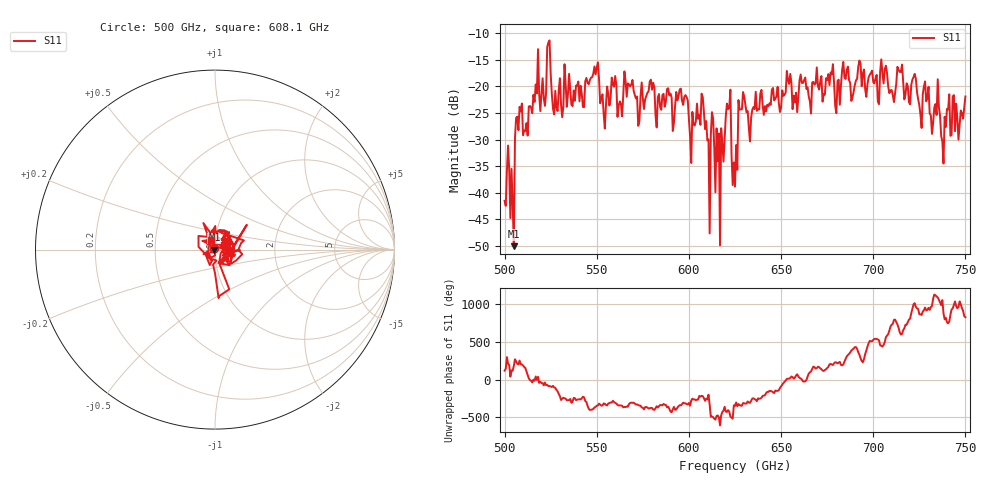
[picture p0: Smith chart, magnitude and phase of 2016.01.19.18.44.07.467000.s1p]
!Created with skrf (http://scikit-rf.org).
# GHz S RI R 50.0
!freq ReS11 ImS11
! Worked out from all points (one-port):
!   401 points, 500 GHz to 750 GHz, reference 50 ohm
!   lowest |S11| = -50.1 dB at 505 GHz (marker M1), VSWR 1.01, Z = 49.7 - j0.0116 ohm
!   |S11| at or under -10 dB: start of sweep to end of sweep
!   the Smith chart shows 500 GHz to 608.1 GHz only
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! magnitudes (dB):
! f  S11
! 500 GHz  -41.5
! 505 GHz  -50.1
! 507.5 GHz  -28.2
! 511.2 GHz  -28.4
! 523.8 GHz  -11.7
! 527.5 GHz  -20.8
! 531.2 GHz  -25.8
! 549.4 GHz  -17.7
! 553.1 GHz  -21.5
! 559.4 GHz  -20.1
! 562.5 GHz  -22.8
! 566.2 GHz  -21.9
! 593.8 GHz  -22.6
! 601.9 GHz  -24.8
! 608.1 GHz  -24.8
! 610 GHz  -30.2
! 613.8 GHz  -31.6
! 615.6 GHz  -34.1
! 621.2 GHz  -24.3
! 625 GHz  -38.9
! 628.1 GHz  -24.3
! 656.2 GHz  -24.3
! 687.5 GHz  -19.4
! 714.4 GHz  -17.3
! 718.8 GHz  -20.0
! 734.4 GHz  -25.4
! 738.1 GHz  -34.5
! 750 GHz  -21.9
